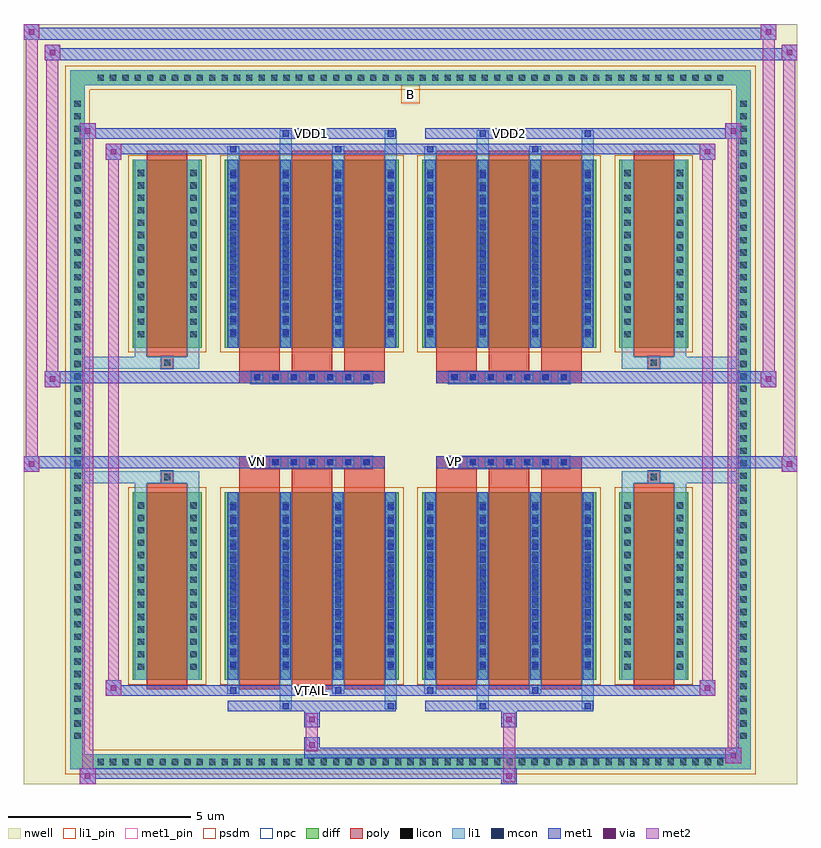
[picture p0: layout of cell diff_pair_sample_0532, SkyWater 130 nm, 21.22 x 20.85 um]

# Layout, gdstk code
import gdstk
lib = gdstk.Library(unit=1e-6, precision=5e-09)
def R(c, l, rs):  # rectangles x0, y0, x1, y1
    for r in rs: c.add(gdstk.rectangle(r[:2], r[2:], *l))
def A(c, l, x, y, w, h, nx, ny, dx, dy):  # array of equal rectangles
    R(c, l, [(x+i*dx, y+j*dy, x+i*dx+w, y+j*dy+h) for i in range(nx) for j in range(ny)])
def P(c, l, *ps):  # polygons
    for p in ps: c.add(gdstk.Polygon(p, *l))
nwell = (64, 20)
diff = (65, 20)
poly = (66, 20)
licon = (66, 44)
li1_pin = (67, 16)
li1 = (67, 20)
mcon = (67, 44)
met1_pin = (68, 16)
met1 = (68, 20)
via = (68, 44)
met2 = (69, 20)
psdm = (94, 20)
npc = (95, 20)

diff_pair_sample_0532 = lib.new_cell('diff_pair_sample_0532')
R(diff_pair_sample_0532, nwell, [(-10.61,-9.99,10.61,10.86), (-7.93,-8.18,-0.01,-0.8), (0.01,-8.18,7.93,-0.8), (-7.93,0.8,-0.01,8.18), (0.01,0.8,7.93,8.18)])
A(diff_pair_sample_0532, diff, -8.705, -9.59, 0.41, 0.41, 51, 2, 0.34, 18.77)
A(diff_pair_sample_0532, diff, -9.34, -8.875, 0.41, 0.41, 1, 52, 0, 0.34)
A(diff_pair_sample_0532, diff, 8.93, -8.875, 0.41, 0.41, 1, 52, 0, 0.34)
R(diff_pair_sample_0532, diff, [(-8.705,-9.59,8.705,-9.18), (-9.34,-8.875,-8.93,8.875), (8.93,-8.875,9.34,8.875), (-7.62,-7.135,-5.73,-1.985), (-5.09,-7.135,-0.32,-1.985), (0.32,-7.135,5.09,-1.985), (5.73,-7.135,7.62,-1.985), (-7.62,1.985,-5.73,7.135), (-5.09,1.985,-0.32,7.135), (0.32,1.985,5.09,7.135), (5.73,1.985,7.62,7.135), (-8.705,9.18,8.705,9.59)])
P(diff_pair_sample_0532, diff, [(9.34,9.59),(-9.34,9.59),(-9.34,-9.18),(-8.93,-9.18),(-8.93,9.18),(8.93,9.18),(8.93,-9.18),(-8.93,-9.18),(-9.34,-9.18),(-9.34,-9.59),(9.34,-9.59)])
A(diff_pair_sample_0532, poly, -4.7, -7.385, 1.11, 5.65, 3, 2, 1.44, 9.12)
A(diff_pair_sample_0532, poly, 0.71, -7.385, 1.11, 5.65, 3, 2, 1.44, 9.12)
A(diff_pair_sample_0532, poly, -4.7, -1.735, 1.11, 0.405, 3, 2, 1.44, 3.065)
A(diff_pair_sample_0532, poly, 0.71, -1.735, 1.11, 0.405, 3, 2, 1.44, 3.065)
A(diff_pair_sample_0532, poly, -4.37, -1.33, 0.33, 0.33, 7, 2, 0.5, 2.33)
A(diff_pair_sample_0532, poly, 1.04, -1.33, 0.33, 0.33, 7, 2, 0.5, 2.33)
R(diff_pair_sample_0532, poly, [(-7.23,-7.385,-6.12,-1.735), (6.12,-7.385,7.23,-1.735), (-6.84,-1.735,-6.51,-1.405), (-6.84,-1.735,-6.51,-1.405), (6.51,-1.735,6.84,-1.405), (6.51,-1.735,6.84,-1.405), (-4.7,-1.33,-0.71,-1), (0.71,-1.33,4.7,-1), (-4.7,1,-0.71,1.33), (0.71,1,4.7,1.33), (-6.84,1.405,-6.51,1.735), (-6.84,1.405,-6.51,1.735), (6.51,1.405,6.84,1.735), (6.51,1.405,6.84,1.735), (-7.23,1.735,-6.12,7.385), (6.12,1.735,7.23,7.385)])
A(diff_pair_sample_0532, licon, -8.585, -9.47, 0.17, 0.17, 51, 2, 0.34, 18.77)
A(diff_pair_sample_0532, licon, -9.22, -8.755, 0.17, 0.17, 1, 52, 0, 0.34)
A(diff_pair_sample_0532, licon, 9.05, -8.755, 0.17, 0.17, 1, 52, 0, 0.34)
A(diff_pair_sample_0532, licon, -7.48, -6.855, 0.17, 0.17, 1, 14, 0, 0.34)
A(diff_pair_sample_0532, licon, -6.04, -6.855, 0.17, 0.17, 1, 14, 0, 0.34)
A(diff_pair_sample_0532, licon, -4.95, -6.855, 0.17, 0.17, 4, 14, 1.44, 0.34)
A(diff_pair_sample_0532, licon, 0.46, -6.855, 0.17, 0.17, 4, 14, 1.44, 0.34)
A(diff_pair_sample_0532, licon, 5.87, -6.855, 0.17, 0.17, 1, 14, 0, 0.34)
A(diff_pair_sample_0532, licon, 7.31, -6.855, 0.17, 0.17, 1, 14, 0, 0.34)
A(diff_pair_sample_0532, licon, -4.29, -1.25, 0.17, 0.17, 7, 2, 0.5, 2.33)
A(diff_pair_sample_0532, licon, 1.12, -1.25, 0.17, 0.17, 7, 2, 0.5, 2.33)
A(diff_pair_sample_0532, licon, -7.48, 2.265, 0.17, 0.17, 1, 14, 0, 0.34)
A(diff_pair_sample_0532, licon, -6.04, 2.265, 0.17, 0.17, 1, 14, 0, 0.34)
A(diff_pair_sample_0532, licon, -4.95, 2.265, 0.17, 0.17, 4, 14, 1.44, 0.34)
A(diff_pair_sample_0532, licon, 0.46, 2.265, 0.17, 0.17, 4, 14, 1.44, 0.34)
A(diff_pair_sample_0532, licon, 5.87, 2.265, 0.17, 0.17, 1, 14, 0, 0.34)
A(diff_pair_sample_0532, licon, 7.31, 2.265, 0.17, 0.17, 1, 14, 0, 0.34)
R(diff_pair_sample_0532, licon, [(-6.76,-1.655,-6.59,-1.485), (6.59,-1.655,6.76,-1.485), (-6.76,1.485,-6.59,1.655), (6.59,1.485,6.76,1.655)])
R(diff_pair_sample_0532, li1_pin, [(-0.25,8.68,0.25,9.18)])
A(diff_pair_sample_0532, li1, -8.665, -9.55, 0.33, 0.33, 51, 2, 0.34, 18.77)
A(diff_pair_sample_0532, li1, -9.3, -8.835, 0.33, 0.33, 1, 52, 0, 0.34)
A(diff_pair_sample_0532, li1, 8.97, -8.835, 0.33, 0.33, 1, 52, 0, 0.34)
A(diff_pair_sample_0532, li1, -5.03, -7.135, 0.33, 5.15, 4, 2, 1.44, 9.12)
A(diff_pair_sample_0532, li1, 0.38, -7.135, 0.33, 5.15, 4, 2, 1.44, 9.12)
A(diff_pair_sample_0532, li1, -7.56, -6.935, 0.33, 0.33, 1, 14, 0, 0.34)
A(diff_pair_sample_0532, li1, -6.12, -6.935, 0.33, 0.33, 1, 14, 0, 0.34)
A(diff_pair_sample_0532, li1, -5.03, -6.935, 0.33, 0.33, 4, 14, 1.44, 0.34)
A(diff_pair_sample_0532, li1, 0.38, -6.935, 0.33, 0.33, 4, 14, 1.44, 0.34)
A(diff_pair_sample_0532, li1, 5.79, -6.935, 0.33, 0.33, 1, 14, 0, 0.34)
A(diff_pair_sample_0532, li1, 7.23, -6.935, 0.33, 0.33, 1, 14, 0, 0.34)
A(diff_pair_sample_0532, li1, -4.95, -6.805, 0.17, 0.17, 4, 13, 1.44, 0.36)
A(diff_pair_sample_0532, li1, -4.95, -6.805, 0.17, 4.49, 4, 2, 1.44, 9.12)
A(diff_pair_sample_0532, li1, 0.46, -6.805, 0.17, 0.17, 4, 13, 1.44, 0.36)
A(diff_pair_sample_0532, li1, 0.46, -6.805, 0.17, 4.49, 4, 2, 1.44, 9.12)
A(diff_pair_sample_0532, li1, -4.37, -1.33, 0.33, 0.33, 7, 2, 0.5, 2.33)
A(diff_pair_sample_0532, li1, 1.04, -1.33, 0.33, 0.33, 7, 2, 0.5, 2.33)
A(diff_pair_sample_0532, li1, -7.56, 2.185, 0.33, 0.33, 1, 14, 0, 0.34)
A(diff_pair_sample_0532, li1, -6.12, 2.185, 0.33, 0.33, 1, 14, 0, 0.34)
A(diff_pair_sample_0532, li1, -5.03, 2.185, 0.33, 0.33, 4, 14, 1.44, 0.34)
A(diff_pair_sample_0532, li1, 0.38, 2.185, 0.33, 0.33, 4, 14, 1.44, 0.34)
A(diff_pair_sample_0532, li1, 5.79, 2.185, 0.33, 0.33, 1, 14, 0, 0.34)
A(diff_pair_sample_0532, li1, 7.23, 2.185, 0.33, 0.33, 1, 14, 0, 0.34)
A(diff_pair_sample_0532, li1, -4.95, 2.315, 0.17, 0.17, 4, 13, 1.44, 0.36)
A(diff_pair_sample_0532, li1, 0.46, 2.315, 0.17, 0.17, 4, 13, 1.44, 0.36)
R(diff_pair_sample_0532, li1, [(-9.34,-9.59,-8.93,-9.18), (-9.34,-9.59,-8.93,-9.18), (-8.93,-9.59,8.93,-9.18), (8.93,-9.59,9.34,-9.18), (8.93,-9.59,9.34,-9.18), (-9.34,-9.18,-8.93,9.18), (8.93,-9.18,9.34,9.18), (-3.59,-7.94,-3.26,-7.135), (-3.51,-7.94,-3.34,-7.77), (-0.71,-7.94,-0.38,-7.135), (-0.63,-7.94,-0.46,-7.77), (1.82,-7.94,2.15,-7.135), (1.9,-7.94,2.07,-7.77), (4.7,-7.94,5.03,-7.135), (4.78,-7.94,4.95,-7.77), (-5.03,-7.51,-4.7,-7.135), (-4.95,-7.51,-4.78,-7.34), (-2.15,-7.51,-1.82,-7.135), (-2.07,-7.51,-1.9,-7.34), (0.38,-7.51,0.71,-7.135), (0.46,-7.51,0.63,-7.34), (3.26,-7.51,3.59,-7.135), (3.34,-7.51,3.51,-7.34), (-7.56,-7.135,-7.23,-1.985), (-6.12,-7.135,-5.79,-1.985), (5.79,-7.135,6.12,-1.985), (7.23,-7.135,7.56,-1.985), (-7.56,-1.985,-7.23,-1.405), (-6.12,-1.985,-5.79,-1.405), (5.79,-1.985,6.12,-1.405), (7.23,-1.985,7.56,-1.405), (-9.34,-1.735,-6.84,-1.405), (-7.56,-1.735,-6.84,-1.405), (-6.84,-1.735,-6.51,-1.405), (-6.51,-1.735,-5.79,-1.405), (5.79,-1.735,6.51,-1.405), (6.51,-1.735,6.84,-1.405), (6.51,-1.735,9.34,-1.405), (6.84,-1.735,7.56,-1.405), (-9.34,1.405,-6.84,1.735), (-7.56,1.405,-6.84,1.735), (-7.56,1.405,-7.23,1.985), (-6.84,1.405,-6.51,1.735), (-6.51,1.405,-5.79,1.735), (-6.12,1.405,-5.79,1.985), (5.79,1.405,6.51,1.735), (5.79,1.405,6.12,1.985), (6.51,1.405,6.84,1.735), (6.51,1.405,9.34,1.735), (6.84,1.405,7.56,1.735), (7.23,1.405,7.56,1.985), (-7.56,1.985,-7.23,7.135), (-6.12,1.985,-5.79,7.135), (5.79,1.985,6.12,7.135), (7.23,1.985,7.56,7.135), (-5.03,7.135,-4.7,7.51), (-3.59,7.135,-3.26,7.94), (-2.15,7.135,-1.82,7.51), (-0.71,7.135,-0.38,7.94), (0.38,7.135,0.71,7.51), (1.82,7.135,2.15,7.94), (3.26,7.135,3.59,7.51), (4.7,7.135,5.03,7.94), (-4.95,7.34,-4.78,7.51), (-2.07,7.34,-1.9,7.51), (0.46,7.34,0.63,7.51), (3.34,7.34,3.51,7.51), (-3.51,7.77,-3.34,7.94), (-0.63,7.77,-0.46,7.94), (1.9,7.77,2.07,7.94), (4.78,7.77,4.95,7.94), (-9.34,9.18,-8.93,9.59), (-9.34,9.18,-8.93,9.59), (-8.93,9.18,8.93,9.59), (8.93,9.18,9.34,9.59), (8.93,9.18,9.34,9.59)])
A(diff_pair_sample_0532, mcon, -4.95, -6.805, 0.17, 0.17, 4, 13, 1.44, 0.36)
A(diff_pair_sample_0532, mcon, 0.46, -6.805, 0.17, 0.17, 4, 13, 1.44, 0.36)
A(diff_pair_sample_0532, mcon, -4.29, -1.25, 0.17, 0.17, 7, 2, 0.5, 2.33)
A(diff_pair_sample_0532, mcon, 1.12, -1.25, 0.17, 0.17, 7, 2, 0.5, 2.33)
A(diff_pair_sample_0532, mcon, -4.95, 2.315, 0.17, 0.17, 4, 13, 1.44, 0.36)
A(diff_pair_sample_0532, mcon, 0.46, 2.315, 0.17, 0.17, 4, 13, 1.44, 0.36)
R(diff_pair_sample_0532, mcon, [(-3.51,-7.94,-3.34,-7.77), (-0.63,-7.94,-0.46,-7.77), (1.9,-7.94,2.07,-7.77), (4.78,-7.94,4.95,-7.77), (-4.95,-7.51,-4.78,-7.34), (-2.07,-7.51,-1.9,-7.34), (0.46,-7.51,0.63,-7.34), (3.34,-7.51,3.51,-7.34), (-4.95,7.34,-4.78,7.51), (-2.07,7.34,-1.9,7.51), (0.46,7.34,0.63,7.51), (3.34,7.34,3.51,7.51), (-3.51,7.77,-3.34,7.94), (-0.63,7.77,-0.46,7.94), (1.9,7.77,2.07,7.94), (4.78,7.77,4.95,7.94)])
R(diff_pair_sample_0532, met1_pin, [(-2.84,-7.55,-2.57,-7.28), (-4.34,-1.29,-4.07,-1.02), (1.07,-1.29,1.34,-1.02), (-2.84,7.73,-2.57,8), (2.57,7.73,2.84,8)])
A(diff_pair_sample_0532, met1, -5.01, -7.135, 0.29, 5.15, 4, 2, 1.44, 9.12)
A(diff_pair_sample_0532, met1, 0.4, -7.135, 0.29, 5.15, 4, 2, 1.44, 9.12)
A(diff_pair_sample_0532, met1, -5.01, -6.865, 0.29, 0.29, 4, 13, 1.44, 0.36)
A(diff_pair_sample_0532, met1, 0.4, -6.865, 0.29, 0.29, 4, 13, 1.44, 0.36)
A(diff_pair_sample_0532, met1, -4.35, -1.31, 0.29, 0.29, 7, 2, 0.5, 2.33)
A(diff_pair_sample_0532, met1, 1.06, -1.31, 0.29, 0.29, 7, 2, 0.5, 2.33)
A(diff_pair_sample_0532, met1, -5.01, 2.255, 0.29, 0.29, 4, 13, 1.44, 0.36)
A(diff_pair_sample_0532, met1, 0.4, 2.255, 0.29, 0.29, 4, 13, 1.44, 0.36)
R(diff_pair_sample_0532, met1, [(-9.07,-9.99,-8.64,-9.56), (2.49,-9.99,2.92,-9.56), (-9.07,-9.85,2.92,-9.56), (8.64,-9.42,9.07,-8.99), (-2.92,-9.28,9.07,-8.99), (-2.92,-9.14,-2.49,-8.71), (-2.92,-8.43,-2.49,-8), (2.49,-8.43,2.92,-8), (-5.01,-8,-0.4,-7.71), (-3.57,-8,-3.28,-7.71), (-0.69,-8,-0.4,-7.71), (0.4,-8,5.01,-7.71), (1.84,-8,2.13,-7.71), (4.72,-8,5.01,-7.71), (-8.36,-7.57,-7.93,-7.14), (-8.36,-7.57,-5.01,-7.28), (-5.01,-7.57,-4.72,-7.28), (-5.01,-7.57,-0.4,-7.28), (-2.13,-7.57,-1.84,-7.28), (-0.4,-7.57,0.4,-7.28), (0.4,-7.57,0.69,-7.28), (0.4,-7.57,5.01,-7.28), (3.28,-7.57,3.57,-7.28), (5.01,-7.57,8.36,-7.28), (7.93,-7.57,8.36,-7.14), (-10.61,-1.43,-10.18,-1), (10.18,-1.43,10.61,-1), (-10.61,-1.33,-0.71,-1), (-4.7,-1.33,-0.71,-1), (0.71,-1.33,4.7,-1), (0.71,-1.33,10.61,-1), (-10.04,0.9,-9.61,1.33), (9.61,0.9,10.04,1.33), (-10.04,1,-4.7,1.33), (-4.7,1,-0.71,1.33), (0.71,1,4.7,1.33), (4.7,1,10.04,1.33), (-8.36,7.14,-7.93,7.57), (7.93,7.14,8.36,7.57), (-8.36,7.28,-5.01,7.57), (-5.01,7.28,-4.72,7.57), (-5.01,7.28,-0.4,7.57), (-2.13,7.28,-1.84,7.57), (-0.4,7.28,0.4,7.57), (0.4,7.28,0.69,7.57), (0.4,7.28,5.01,7.57), (3.28,7.28,3.57,7.57), (5.01,7.28,8.36,7.57), (-9.07,7.71,-8.64,8.14), (-9.07,7.71,-5.01,8), (-5.01,7.71,-0.4,8), (-3.57,7.71,-3.28,8), (-0.69,7.71,-0.4,8), (0.4,7.71,5.01,8), (1.84,7.71,2.13,8), (4.72,7.71,5.01,8), (5.01,7.71,9.07,8), (8.64,7.71,9.07,8.14), (-10.04,9.86,-9.61,10.29), (-10.04,9.86,-7.93,10.19), (-7.93,9.86,7.93,10.19), (7.93,9.86,10.61,10.19), (10.18,9.86,10.61,10.29), (-10.61,10.43,-10.18,10.86), (-10.61,10.43,-7.93,10.76), (-7.93,10.43,7.93,10.76), (7.93,10.43,10.04,10.76), (9.61,10.43,10.04,10.86)])
R(diff_pair_sample_0532, via, [(-8.93,-9.85,-8.78,-9.7), (2.63,-9.85,2.78,-9.7), (8.78,-9.28,8.93,-9.13), (-2.78,-9,-2.63,-8.85), (-2.78,-8.29,-2.63,-8.14), (2.63,-8.29,2.78,-8.14), (-8.22,-7.43,-8.07,-7.28), (8.07,-7.43,8.22,-7.28), (-10.47,-1.29,-10.32,-1.14), (10.32,-1.29,10.47,-1.14), (-9.9,1.04,-9.75,1.19), (9.75,1.04,9.9,1.19), (-8.22,7.28,-8.07,7.43), (8.07,7.28,8.22,7.43), (-8.93,7.85,-8.78,8), (8.78,7.85,8.93,8), (-9.9,10,-9.75,10.15), (10.32,10,10.47,10.15), (-10.47,10.57,-10.32,10.72), (9.75,10.57,9.9,10.72)])
R(diff_pair_sample_0532, met2, [(-9.07,-9.99,-8.64,-9.56), (-9,-9.99,-8.71,8.14), (-8.71,-9.99,-8.64,-9.56), (-9.02,-9.94,-8.69,-9.61), (2.54,-9.94,2.87,-9.61), (2.54,-9.61,2.87,-8.38), (8.64,-9.42,9.07,-8.99), (8.71,-9.42,9,8.14), (9,-9.42,9.07,-8.99), (8.69,-9.37,9.02,-9.04), (-2.87,-9.09,-2.54,-8.76), (-2.87,-8.76,-2.54,-8.38), (-2.87,-8.38,-2.54,-8.05), (2.54,-8.38,2.87,-8.05), (-8.36,-7.57,-7.93,-7.14), (-8.29,-7.57,-8,7.57), (-8,-7.57,-7.93,-7.14), (7.93,-7.57,8.36,-7.14), (8,-7.57,8.29,7.57), (8.29,-7.57,8.36,-7.14), (-8.31,-7.52,-7.98,-7.19), (7.98,-7.52,8.31,-7.19), (-10.61,-1.43,-10.18,-1), (-10.56,-1.43,-10.23,10.86), (-10.23,-1.43,-10.18,-1), (10.18,-1.43,10.61,-1), (10.23,-1.43,10.56,10.29), (10.56,-1.43,10.61,-1), (-10.56,-1.38,-10.23,-1.05), (10.23,-1.38,10.56,-1.05), (-10.04,0.9,-9.61,1.33), (-9.99,0.9,-9.66,10.29), (-9.66,0.9,-9.61,1.33), (9.61,0.9,10.04,1.33), (9.66,0.9,9.99,10.86), (9.99,0.9,10.04,1.33), (-9.99,0.95,-9.66,1.28), (9.66,0.95,9.99,1.28), (-8.36,7.14,-7.93,7.57), (-8,7.14,-7.93,7.57), (7.93,7.14,8.36,7.57), (8.29,7.14,8.36,7.57), (-8.31,7.19,-7.98,7.52), (7.98,7.19,8.31,7.52), (-9.07,7.71,-8.64,8.14), (-8.71,7.71,-8.64,8.14), (8.64,7.71,9.07,8.14), (9,7.71,9.07,8.14), (-9.02,7.76,-8.69,8.09), (8.69,7.76,9.02,8.09), (-10.04,9.86,-9.61,10.29), (-9.66,9.86,-9.61,10.29), (10.18,9.86,10.61,10.29), (10.56,9.86,10.61,10.29), (-9.99,9.91,-9.66,10.24), (10.23,9.91,10.56,10.24), (-10.61,10.43,-10.18,10.86), (-10.23,10.43,-10.18,10.86), (9.61,10.43,10.04,10.86), (9.99,10.43,10.04,10.86), (-10.56,10.48,-10.23,10.81), (9.66,10.48,9.99,10.81)])
R(diff_pair_sample_0532, psdm, [(-7.75,-7.265,-5.6,-1.855), (-5.22,-7.265,-0.19,-1.855), (0.19,-7.265,5.22,-1.855), (5.6,-7.265,7.75,-1.855), (-7.75,1.855,-5.6,7.265), (-5.22,1.855,-0.19,7.265), (0.19,1.855,5.22,7.265), (5.6,1.855,7.75,7.265)])
P(diff_pair_sample_0532, psdm, [(9.47,9.72),(-9.47,9.72),(-9.47,-9.05),(-8.8,-9.05),(-8.8,9.05),(8.8,9.05),(8.8,-9.05),(-8.8,-9.05),(-9.47,-9.05),(-9.47,-9.72),(9.47,-9.72)])
A(diff_pair_sample_0532, npc, -4.39, -1.35, 0.37, 0.37, 7, 2, 0.5, 2.33)
A(diff_pair_sample_0532, npc, 1.02, -1.35, 0.37, 0.37, 7, 2, 0.5, 2.33)
R(diff_pair_sample_0532, npc, [(-6.86,-1.755,-6.49,-1.385), (6.49,-1.755,6.86,-1.385), (-4.39,-1.35,-3.52,-0.98), (-4.39,-1.35,-3.52,-0.98), (-3.89,-1.35,-3.02,-0.98), (-3.89,-1.35,-3.02,-0.98), (-3.39,-1.35,-2.52,-0.98), (-3.39,-1.35,-2.52,-0.98), (-2.89,-1.35,-2.02,-0.98), (-2.89,-1.35,-2.02,-0.98), (-2.39,-1.35,-1.52,-0.98), (-2.39,-1.35,-1.52,-0.98), (-1.89,-1.35,-1.02,-0.98), (-1.89,-1.35,-1.02,-0.98), (1.02,-1.35,1.89,-0.98), (1.02,-1.35,1.89,-0.98), (1.52,-1.35,2.39,-0.98), (1.52,-1.35,2.39,-0.98), (2.02,-1.35,2.89,-0.98), (2.02,-1.35,2.89,-0.98), (2.52,-1.35,3.39,-0.98), (2.52,-1.35,3.39,-0.98), (3.02,-1.35,3.89,-0.98), (3.02,-1.35,3.89,-0.98), (3.52,-1.35,4.39,-0.98), (3.52,-1.35,4.39,-0.98), (-4.39,0.98,-3.52,1.35), (-4.39,0.98,-3.52,1.35), (-3.89,0.98,-3.02,1.35), (-3.89,0.98,-3.02,1.35), (-3.39,0.98,-2.52,1.35), (-3.39,0.98,-2.52,1.35), (-2.89,0.98,-2.02,1.35), (-2.89,0.98,-2.02,1.35), (-2.39,0.98,-1.52,1.35), (-2.39,0.98,-1.52,1.35), (-1.89,0.98,-1.02,1.35), (-1.89,0.98,-1.02,1.35), (1.02,0.98,1.89,1.35), (1.02,0.98,1.89,1.35), (1.52,0.98,2.39,1.35), (1.52,0.98,2.39,1.35), (2.02,0.98,2.89,1.35), (2.02,0.98,2.89,1.35), (2.52,0.98,3.39,1.35), (2.52,0.98,3.39,1.35), (3.02,0.98,3.89,1.35), (3.02,0.98,3.89,1.35), (3.52,0.98,4.39,1.35), (3.52,0.98,4.39,1.35), (-6.86,1.385,-6.49,1.755), (6.49,1.385,6.86,1.755)])
diff_pair_sample_0532.add(gdstk.Label('VTAIL', (-2.705,-7.415), layer=68, texttype=5))
diff_pair_sample_0532.add(gdstk.Label('VN', (-4.205,-1.155), layer=68, texttype=5))
diff_pair_sample_0532.add(gdstk.Label('VP', (1.205,-1.155), layer=68, texttype=5))
diff_pair_sample_0532.add(gdstk.Label('B', (0,8.93), layer=67, texttype=5))
diff_pair_sample_0532.add(gdstk.Label('VDD2', (2.705,7.865), layer=68, texttype=5))
diff_pair_sample_0532.add(gdstk.Label('VDD1', (-2.705,7.865), layer=68, texttype=5))

lib.write_gds('diff_pair_sample_0532.gds')
